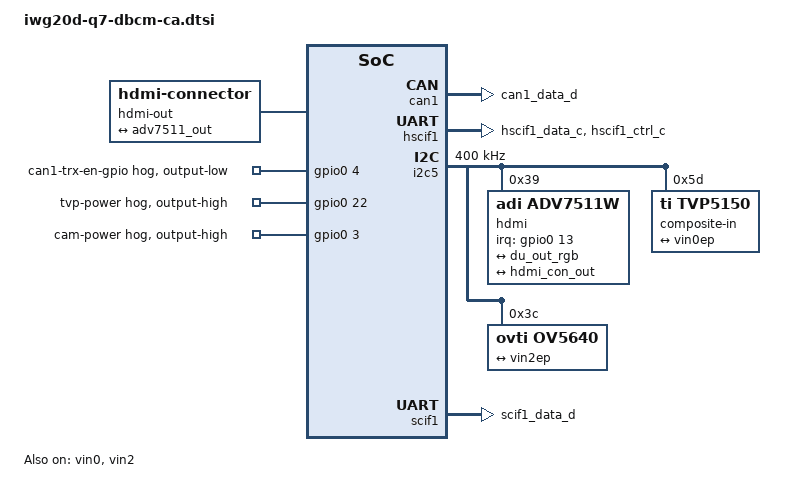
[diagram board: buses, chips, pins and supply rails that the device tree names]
// SPDX-License-Identifier: GPL-2.0
/*
 * Device Tree Source for the iWave-RZ-G1M/N Daughter Board Camera Module
 *
 * Copyright (C) 2017 Renesas Electronics Corp.
 */

/ {
	aliases {
		serial1 = &scif1;
		serial4 = &hscif1;
	};

	cec_clock: cec-clock {
		compatible = "fixed-clock";
		#clock-cells = <0>;
		clock-frequency = <12000000>;
	};

	hdmi-out {
		compatible = "hdmi-connector";
		type = "a";

		port {
			hdmi_con_out: endpoint {
				remote-endpoint = <&adv7511_out>;
			};
		};
	};
};

&can1 {
	pinctrl-0 = <&can1_pins>;
	pinctrl-names = "default";

	status = "okay";
};

&du {
	pinctrl-0 = <&du_pins>;
	pinctrl-names = "default";

	ports {
		port@0 {
			endpoint {
				remote-endpoint = <&adv7511_in>;
			};
		};
	};
};

&gpio0 {
	can1-trx-en-gpio {
		gpio-hog;
		gpios = <4 GPIO_ACTIVE_HIGH>;
		output-low;
		line-name = "can1-trx-en-gpio";
	};

	tvp-power{
		gpio-hog;
		gpios = <22 GPIO_ACTIVE_HIGH>;
		output-high;
		line-name = "tvp-power";
	};

	cam-power{
		gpio-hog;
		gpios = <3 GPIO_ACTIVE_HIGH>;
		output-high;
		line-name = "cam-power";
	};
};

&hscif1 {
	pinctrl-0 = <&hscif1_pins>;
	pinctrl-names = "default";

	uart-has-rtscts;
	status = "okay";
};

&i2c5 {
	status = "okay";
	clock-frequency = <400000>;

	hdmi@39 {
		compatible = "adi,adv7511w";
		reg = <0x39>;
		interrupt-parent = <&gpio0>;
		interrupts = <13 IRQ_TYPE_LEVEL_LOW>;
		clocks = <&cec_clock>;
		clock-names = "cec";

		adi,input-depth = <8>;
		adi,input-colorspace = "rgb";
		adi,input-clock = "1x";

		ports {
			#address-cells = <1>;
			#size-cells = <0>;

			port@0 {
				reg = <0>;
				adv7511_in: endpoint {
					remote-endpoint = <&du_out_rgb>;
				};
			};

			port@1 {
				reg = <1>;
				adv7511_out: endpoint {
					remote-endpoint = <&hdmi_con_out>;
				};
			};
		};
	};

	composite-in@5d {
		compatible = "ti,tvp5150";
		reg = <0x5d>;
		remote = <&vin0>;

		port {
			tvp5150: endpoint {
				bus-width = <8>;
				remote-endpoint = <&vin0ep>;
			};
		};
	};

	ov5640@3c {
		compatible = "ovti,ov5640";
		reg = <0x3c>;
		remote = <&vin2>;

		port {
			ov5640: endpoint {
				bus-width = <8>;
				remote-endpoint = <&vin2ep>;
			};
		};
	};

	ov7725@21 {
		compatible = "ovti,ov7725";
		reg = <0x21>;
		remote = <&vin2>;
		clocks = <&clk_ov7725>;

		/* mark OV7725 as disabled by default
		 * to enable, run command below under U-boot command line
		 * 	setenv vin2_camera 'ov7725'
		 * Note: no need to update status here
		 */
		status = "disabled";

		port {
			ov7725: endpoint {
				bus-type = <6>;
				data-shift = <2>;
				bus-width = <8>;
				pclk-sample = <1>;
				hsync-active = <0>;
				vsync-active = <0>;
				remote-endpoint = <&vin2ep>;
			};
		};
	};
};

&pfc {
	can1_pins: can1 {
		groups = "can1_data_d";
		function = "can1";
	};

	du_pins: du {
		groups = "du_rgb888", "du_sync", "du_oddf", "du_clk_out_0";
		function = "du";
	};

	hscif1_pins: hscif1 {
		groups = "hscif1_data_c", "hscif1_ctrl_c";
		function = "hscif1";
	};

	scif1_pins: scif1 {
		groups = "scif1_data_d";
		function = "scif1";
	};

	vin0_pins: vin0 {
		groups = "vin0_data8", "vin0_clk";
		function = "vin0";
	};

	vin2_pins: vin2 {
		groups = "vin2_data8", "vin2_clk";
		function = "vin2";
	};
};

&scif1 {
	pinctrl-0 = <&scif1_pins>;
	pinctrl-names = "default";

	status = "okay";
};

&vin0 {
	status = "okay";
	pinctrl-0 = <&vin0_pins>;
	pinctrl-names = "default";

	port {
		#address-cells = <1>;
		#size-cells = <0>;

		vin0ep: endpoint {
			remote-endpoint = <&tvp5150>;
			bus-width = <8>;
		};
	};
};

&vin2 {
	status = "okay";
	pinctrl-0 = <&vin2_pins>;
	pinctrl-names = "default";

	port {
		#address-cells = <1>;
		#size-cells = <0>;

		vin2ep: endpoint {
			remote-endpoint = <&ov5640>;
			bus-width = <8>;
		};
	};
};
